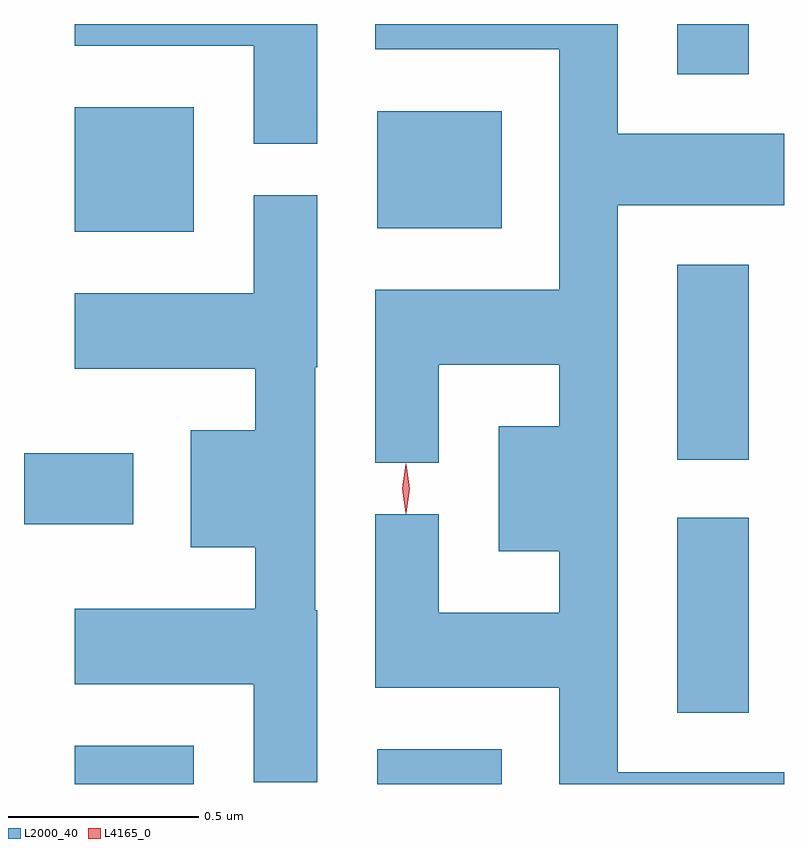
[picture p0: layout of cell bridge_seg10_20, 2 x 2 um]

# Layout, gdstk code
import gdstk
lib = gdstk.Library(unit=1e-6, precision=1e-09)
def R(c, l, rs):  # rectangles x0, y0, x1, y1
    for r in rs: c.add(gdstk.rectangle(r[:2], r[2:], *l))
def P(c, l, *ps):  # polygons
    for p in ps: c.add(gdstk.Polygon(p, *l))
L2000_40 = (2000, 40)
L4165_0 = (4165, 0)

bridge_seg10_20 = lib.new_cell('bridge_seg10_20')
R(bridge_seg10_20, L2000_40, [(1786.791,2158.313,1787.104,2158.414), (1787.586,2158.313,1787.914,2158.404), (1788.376,2158.501,1788.564,2159.014), (1786.657,2158.996,1786.944,2159.184), (1788.376,2159.166,1788.564,2159.679), (1786.791,2159.766,1787.104,2160.094), (1787.586,2159.776,1787.914,2160.084), (1788.376,2160.181,1788.564,2160.313)])
P(bridge_seg10_20, L2000_40, [(1787.429,2160.313),(1786.791,2160.313),(1786.791,2160.256),(1787.261,2160.256),(1787.261,2159.998),(1787.429,2159.998)],
  [(1788.657,2158.344),(1788.219,2158.344),(1788.219,2159.836),(1788.657,2159.836),(1788.657,2160.024),(1788.219,2160.024),(1788.219,2160.313),(1787.581,2160.313),(1787.581,2160.246),(1788.066,2160.246),(1788.066,2159.614),(1787.581,2159.614),(1787.581,2159.158),(1787.749,2159.158),(1787.749,2159.416),(1788.066,2159.416),(1788.066,2159.254),(1787.906,2159.254),(1787.906,2158.926),(1788.066,2158.926),(1788.066,2158.764),(1787.749,2158.764),(1787.749,2159.023),(1787.581,2159.023),(1787.581,2158.566),(1788.066,2158.566),(1788.066,2158.313),(1788.657,2158.313)],
  [(1787.429,2158.77),(1787.424,2158.77),(1787.424,2159.41),(1787.429,2159.41),(1787.429,2159.863),(1787.261,2159.863),(1787.261,2159.604),(1786.791,2159.604),(1786.791,2159.406),(1787.266,2159.406),(1787.266,2159.244),(1787.096,2159.244),(1787.096,2158.936),(1787.266,2158.936),(1787.266,2158.774),(1786.791,2158.774),(1786.791,2158.576),(1787.261,2158.576),(1787.261,2158.318),(1787.429,2158.318)])
P(bridge_seg10_20, L4165_0, [(1787.662,2159.024),(1787.662,2159.025),(1787.652,2159.09),(1787.662,2159.155),(1787.662,2159.156),(1787.663,2159.155),(1787.672,2159.09),(1787.663,2159.025)])

lib.write_gds('bridge_seg10_20.gds')
